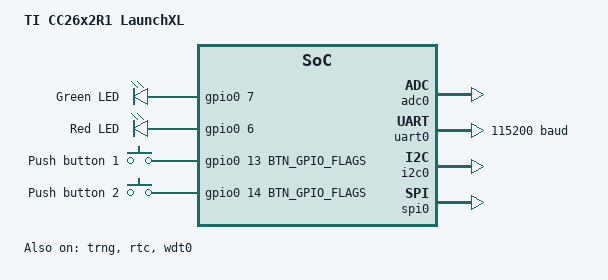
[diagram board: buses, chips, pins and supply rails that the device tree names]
/*
 * Copyright (c) 2019 Brett Witherspoon
 *
 * SPDX-License-Identifier: Apache-2.0
 */

/dts-v1/;

#include <ti/cc2652r.dtsi>
#include "boosterpack_connector.dtsi"
#include "cc26x2r1_launchxl-pinctrl.dtsi"

#define BTN_GPIO_FLAGS (GPIO_ACTIVE_LOW | GPIO_PULL_UP)

/ {
	model = "TI CC26x2R1 LaunchXL";
	compatible = "ti,launchxl-cc26x2r1";

	aliases {
		led0 = &led0;
		led1 = &led1;
		sw0 = &btn0;
		sw1 = &btn1;
		watchdog0 = &wdt0;
	};

	chosen {
		zephyr,sram = &sram0;
		zephyr,flash = &flash0;
		zephyr,console = &uart0;
		zephyr,shell-uart = &uart0;
	};

	leds {
		compatible = "gpio-leds";
		led0: led_0 {
			gpios = <&gpio0 7 GPIO_ACTIVE_HIGH>;
			label = "Green LED";
		};
		led1: led_1 {
			gpios = <&gpio0 6 GPIO_ACTIVE_HIGH>;
			label = "Red LED";
		};
	};

	keys {
		compatible = "gpio-keys";
		btn0: btn_0 {
			gpios = <&gpio0 13 BTN_GPIO_FLAGS>;
			label = "Push button 1";
		};
		btn1: btn_1 {
			gpios = <&gpio0 14 BTN_GPIO_FLAGS>;
			label = "Push button 2";
		};
	};

	power-states {
		idle: idle {
			compatible = "zephyr,power-state";
			power-state-name = "suspend-to-idle";
			min-residency-us = <1000>;
		};

		standby: standby {
			compatible = "zephyr,power-state";
			power-state-name = "standby";
			min-residency-us = <5000>;
			exit-latency-us = <240>;
		};
	};
};

&cpu0 {
	clock-frequency = <48000000>;
	cpu-power-states = <&idle &standby>;
};

&trng {
	status = "okay";
};

&gpio0 {
	status = "okay";
};

&adc0 {
	status = "okay";
};

&uart0 {
	status = "okay";
	current-speed = <115200>;
	pinctrl-0 = <&uart0_rx_default &uart0_tx_default>;
	pinctrl-names = "default";
};

&i2c0 {
	status = "okay";
	pinctrl-0 = <&i2c0_scl_default &i2c0_sda_default>;
	pinctrl-1 = <&i2c0_scl_sleep &i2c0_sda_sleep>;
	pinctrl-names = "default", "sleep";
};

&spi0 {
	status = "okay";
	pinctrl-0 = <&spi0_sck_default &spi0_mosi_default
				 &spi0_miso_default &spi0_cs_default>;
	pinctrl-names = "default";

	cs-gpios = <&gpio0 11 GPIO_ACTIVE_LOW>;
};

&rtc {
	status = "okay";
};

&wdt0 {
	status = "okay";
};
